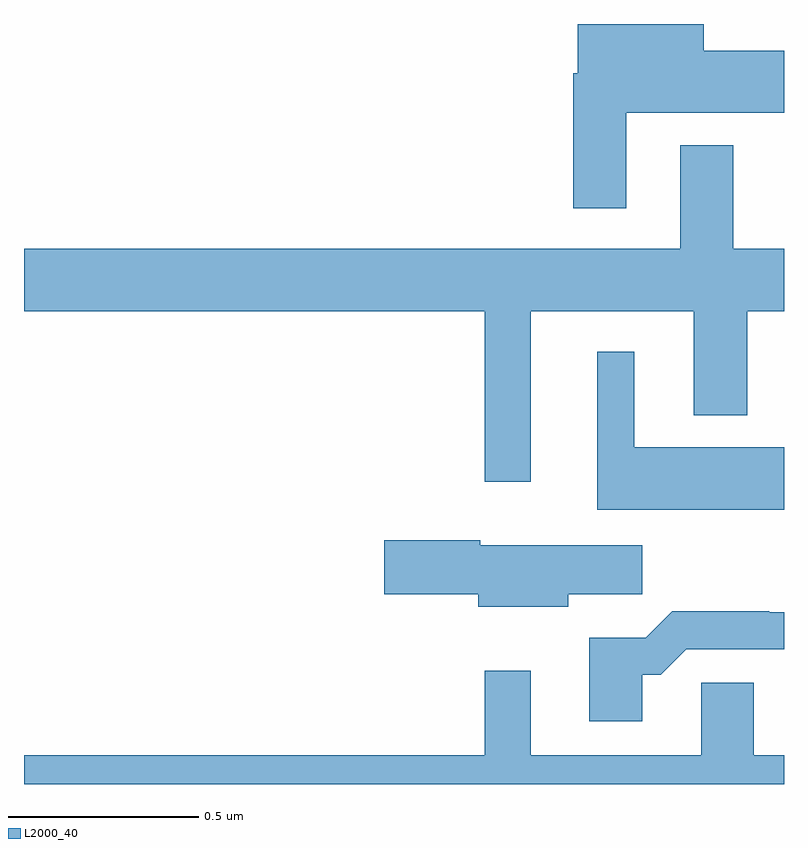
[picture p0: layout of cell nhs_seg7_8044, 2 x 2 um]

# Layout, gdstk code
import gdstk
lib = gdstk.Library(unit=1e-6, precision=1e-09)
def P(c, l, *ps):  # polygons
    for p in ps: c.add(gdstk.Polygon(p, *l))
L2000_40 = (2000, 40)

nhs_seg7_8044 = lib.new_cell('nhs_seg7_8044')
P(nhs_seg7_8044, L2000_40, [(220.585,1039.766),(221,1039.766),(221,1039.93),(220.789,1039.93),(220.789,1040),(220.457,1040),(220.457,1039.87),(220.445,1039.87),(220.445,1039.515),(220.585,1039.515)],
  [(220.333,1039.244),(220.763,1039.244),(220.763,1038.971),(220.903,1038.971),(220.903,1039.244),(221,1039.244),(221,1039.408),(220.867,1039.408),(220.867,1039.681),(220.727,1039.681),(220.727,1039.408),(219,1039.408),(219,1039.244),(220.212,1039.244),(220.212,1038.795),(220.333,1038.795)],
  [(221,1038.886),(220.606,1038.886),(220.606,1039.138),(220.508,1039.138),(220.508,1038.722),(221,1038.722)],
  [(220.432,1038.499),(220.627,1038.499),(220.627,1038.628),(220.2,1038.628),(220.2,1038.641),(219.948,1038.641),(219.948,1038.499),(220.196,1038.499),(220.196,1038.467),(220.432,1038.467)],
  [(220.627,1038.287),(220.676,1038.287),(220.743,1038.354),(221,1038.354),(221,1038.452),(220.961,1038.452),(220.961,1038.455),(220.706,1038.455),(220.636,1038.385),(220.487,1038.385),(220.487,1038.165),(220.627,1038.165)],
  [(221,1038.076),(220.921,1038.076),(220.921,1038.266),(220.782,1038.266),(220.782,1038.076),(220.333,1038.076),(220.333,1038.298),(220.212,1038.298),(220.212,1038.076),(219,1038.076),(219,1038),(221,1038)])

lib.write_gds('nhs_seg7_8044.gds')
